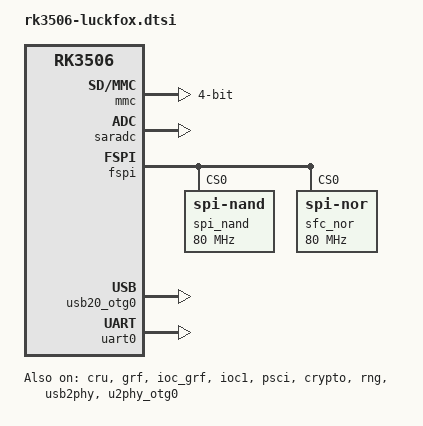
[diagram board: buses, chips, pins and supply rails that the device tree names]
/*
 * (C) Copyright 2024 Rockchip Electronics Co., Ltd
 *
 * SPDX-License-Identifier:     GPL-2.0+
 */

/ {
	aliases {
		mmc0 = &mmc;
	};

	dmc {
		compatible = "rockchip,rk3506-dmc";
		bootph-all;
	};

	chosen: chosen {
		stdout-path = &uart0;
		u-boot,spl-boot-order = "same-as-spl", &mmc, &spi_nand, &spi_nor;
	};
};

#if defined(CONFIG_SPL) && defined(HAS_FIT)
&fit_template {
	images {
		op-tee {
			load = <0x3c00000>;
			entry = <0x3c00000>;
		};
	};
};
#endif

&mmc {
	bus-width = <4>;
	bootph-pre-ram;
	status = "okay";
};

&cru {
	bootph-all;
	status = "okay";
};

&grf {
	bootph-pre-ram;
	status = "okay";
};

&ioc_grf {
	bootph-pre-ram;
	status = "okay";
};

&pinctrl {
	bootph-pre-ram;
	status = "okay";
};

&ioc1 {
	bootph-pre-ram;
	status = "okay";
};

&grf_pmu {
	bootph-pre-ram;
	status = "okay";
};

&ioc_pmu {
	bootph-pre-ram;
	status = "okay";
};

&gpio0 {
	bootph-pre-ram;
	status = "okay";
};

&gpio1 {
	bootph-all;
	status = "okay";
};

&gpio2 {
	bootph-all;
	status = "okay";
};

&gpio3 {
	bootph-pre-ram;
	status = "okay";
};

&gpio4 {
	bootph-all;
	status = "okay";
};

&psci {
	bootph-all;
	status = "okay";
};

&crypto {
	bootph-pre-ram;
	status = "okay";
};

&rng {
	bootph-pre-ram;
	status = "okay";
};

&saradc {
	bootph-pre-ram;
	status = "okay";
};

&fspi {
	bootph-pre-ram;
	status = "okay";

	#address-cells = <1>;
	#size-cells = <0>;
	spi_nand: flash@0 {
		bootph-pre-ram;
		compatible = "spi-nand";
		reg = <0>;
		spi-tx-bus-width = <1>;
		spi-rx-bus-width = <4>;
		spi-max-frequency = <80000000>;
	};

	spi_nor: flash@1 {
		bootph-pre-ram;
		compatible = "jedec,spi-nor";
		label = "sfc_nor";
		reg = <0>;
		spi-tx-bus-width = <1>;
		spi-rx-bus-width = <4>;
		spi-max-frequency = <80000000>;
	};
};

&usb2phy {
	bootph-all;
	status = "okay";
};

&u2phy_otg0 {
	bootph-all;
	status = "okay";
};

&usb20_otg0 {
	bootph-all;
	status = "okay";
};

&uart0 {
	bootph-all;
	clock-frequency = <24000000>;
	status = "okay";
};
